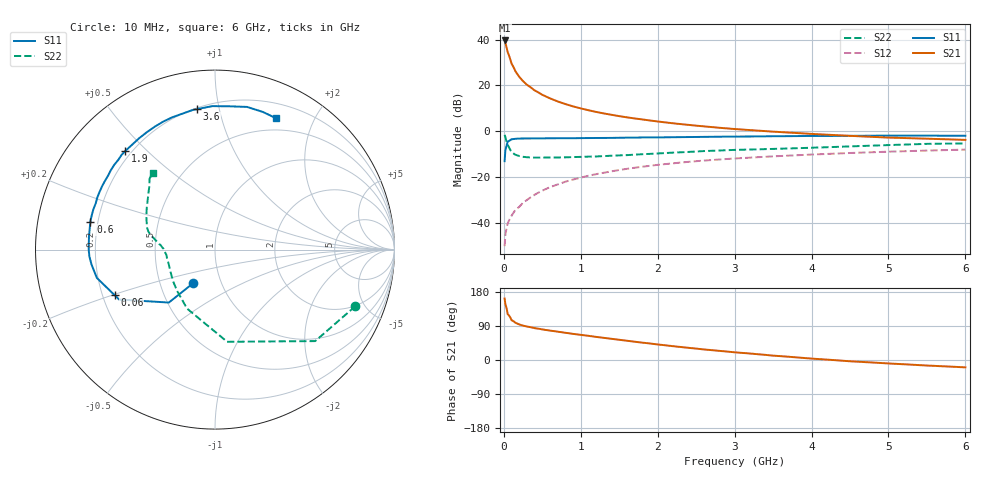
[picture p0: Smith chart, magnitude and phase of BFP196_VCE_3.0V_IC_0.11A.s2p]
! (c) 2017  Infineon Technologies AG, Munich
! Infineon Technologies  Discrete & RF Semiconductors
! BFP196
! VCE =  3.0 V,  IC = 0.11 A
! Common Emitter S-Parameters:  Jan 2017
# GHz  S  MA  R  50
!  f  S11  S21  S12  S22
! GHz  MAG  ANG  MAG  ANG  MAG  ANG  MAG  ANG
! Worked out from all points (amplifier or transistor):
!   77 points, 10 MHz to 6 GHz, reference 50 ohm
!   highest |S21| = 39.6 dB at 10 MHz (marker M1)
!   |S21| within 3 dB of that: start of sweep to 34.88 MHz
!   unconditionally stable (mu >= 1): 297.6 MHz to 2.505 GHz
!   at 130 MHz: K = 0.81, MSG = 31.4 dB, |S12| = -35.1 dB
!   at 2.2 GHz: K = 1.01, MAG = 8.0 dB, |S12| = -13.9 dB
!   at 6 GHz: K = 0.97, MSG = 2.1 dB, |S12| = -7.9 dB
!   S11 on the Smith chart (normalised r, x): 10 MHz: 0.73, -0.29; 60 MHz: 0.25, -0.20; 600 MHz: 0.17, +0.11; 1.9 GHz: 0.18, +0.43; 3.6 GHz: 0.21, +0.86; 6 GHz: 0.36, +1.51
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0.01  0.2257 -123.2  95.41 162.2  0.0032 76.8  0.8429 -22.0
0.02  0.3915 -131.1  85.15 147.3  0.0057 69.5  0.7561 -42.4
0.05  0.6023 -152.5  53.19 121.0  0.01 54.5  0.5181 -82.5
0.06  0.6141 -155.6  48.34 119.1  0.0109 56.2  0.4772 -87.2
0.1  0.6768 -166.5  29.97 105.1  0.0146 61.0  0.3637 -115.4
0.15  0.6929 -173.1  20.46 98.3  0.0195 63.9  0.312 -132.6
0.2  0.7008 -176.8  15.47 93.9  0.0229 67.0  0.2924 -143.2
0.25  0.7037 -179.9  12.41 90.7  0.0283 67.7  0.2808 -150.0
0.3  0.704 177.9  10.38 88.3  0.0323 69.9  0.2753 -155.5
0.4  0.7059 174.0  7.831 84.1  0.042 71.7  0.2704 -162.0
0.5  0.7079 170.4  6.269 80.7  0.0516 71.7  0.2702 -166.5
0.6  0.7116 167.4  5.248 77.6  0.0615 71.1  0.2719 -170.0
0.8  0.7138 161.7  3.947 71.8  0.0808 70.1  0.2736 -174.6
1.1  0.7191 153.4  2.897 63.8  0.109 66.2  0.2836 -179.4
1.5  0.7296 142.8  2.154 53.4  0.1452 60.6  0.3019 175.8
1.9  0.7429 132.2  1.733 43.6  0.1793 54.6  0.3257 172.2
2.1  0.7463 127.1  1.576 38.8  0.1952 51.5  0.3394 170.4
3.1  0.7758 106.1  1.101 18.7  0.2639 37.1  0.4011 161.0
3.6  0.7891 97.3  0.969 10.1  0.2927 30.8  0.4221 154.8
4.1  0.7992 89.5  0.868 2.4  0.3195 24.5  0.4485 147.8
5.1  0.8133 76.0  0.728 -10.2  0.3674 12.7  0.5121 135.6
6  0.8071 65.1  0.656 -19.4  0.4035 2.6  0.5502 129.2
